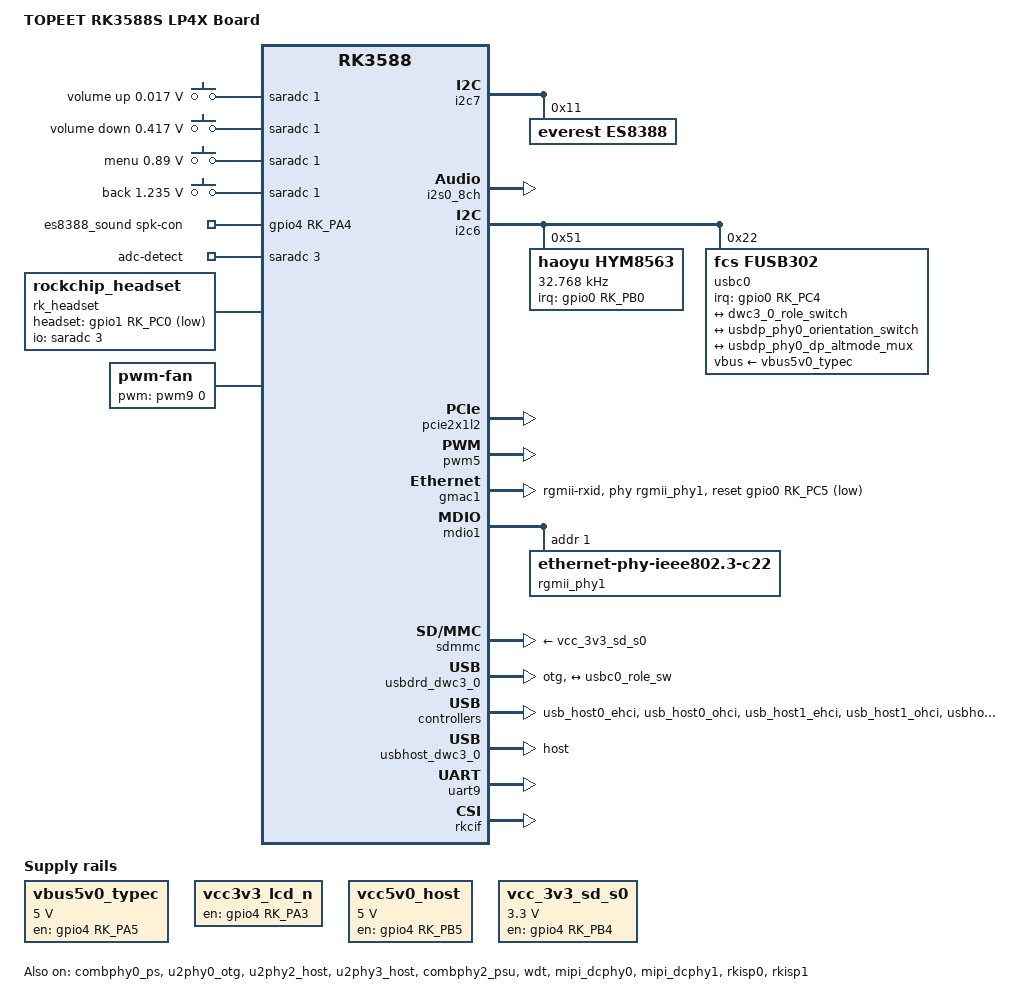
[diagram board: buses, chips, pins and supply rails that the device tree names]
// SPDX-License-Identifier: (GPL-2.0+ OR MIT)
/*
 * Copyright (c) 2022 Rockchip Electronics Co., Ltd.
 *
 */

/dts-v1/;

#include "dt-bindings/usb/pd.h"
#include "rk3588s.dtsi"
#include "topeet-rk3588s-linux.dtsi"
#include "rk3588-rk806-single.dtsi"
#include "rk3588-linux.dtsi"
#include "topeet-screen-lcds.dts"
#include "topeet-camera-config.dtsi"

/ {
	model = "TOPEET RK3588S LP4X Board";
	compatible = "rockchip,rk3588";
	
	//usb-c供电使能
	vbus5v0_typec: vbus5v0-typec {
		compatible = "regulator-fixed";
		regulator-name = "vbus5v0_typec";
		regulator-min-microvolt = <5000000>;
		regulator-max-microvolt = <5000000>;
		enable-active-high;
		gpio = <&gpio4 RK_PA5 GPIO_ACTIVE_HIGH>;
		pinctrl-names = "default";
		pinctrl-0 = <&typec5v_pwren>;
	};

	//LCD屏幕供电使能
	vcc3v3_lcd_n: vcc3v3-lcd0-n {
		compatible = "regulator-fixed";
		regulator-name = "vcc3v3_lcd0_n";
		regulator-boot-on;
		enable-active-high;
		gpio = <&gpio4 RK_PA3 GPIO_ACTIVE_HIGH>;
	};

	//USB2.0和USB3.0供电使能
	vcc5v0_host: vcc5v0-host {
		compatible = "regulator-fixed";
		regulator-name = "vcc5v0_host";
		regulator-boot-on;
		regulator-always-on;
		regulator-min-microvolt = <5000000>;
		regulator-max-microvolt = <5000000>;
		enable-active-high;
		gpio = <&gpio4 RK_PB5 GPIO_ACTIVE_HIGH>;
	};

	//TF卡供电使能
	vcc_3v3_sd_s0: vcc-3v3-sd-s0 {
		compatible = "regulator-fixed";
		regulator-name = "vcc_3v3_sd_s0";
		regulator-min-microvolt = <3300000>;
		regulator-max-microvolt = <3300000>;
		gpio = <&gpio4 RK_PB4 GPIO_ACTIVE_HIGH>;
		enable-active-high;
	};

	// ADC按键
	adc_keys: adc-keys {
			compatible = "adc-keys";
			io-channels = <&saradc 1>;
			io-channel-names = "buttons";
			keyup-threshold-microvolt = <1800000>;
			poll-interval = <100>;

			vol-up-key {
					label = "volume up";
					linux,code = <KEY_VOLUMEUP>;
					press-threshold-microvolt = <17000>;
			};

			vol-down-key {
					label = "volume down";
					linux,code = <KEY_VOLUMEDOWN>;
					press-threshold-microvolt = <417000>;
			};

			menu-key {
					label = "menu";
					linux,code = <KEY_MENU>;
					press-threshold-microvolt = <890000>;
			};

			back-key {
					label = "back";
					linux,code = <KEY_BACK>;
					press-threshold-microvolt = <1235000>;
			};
	};
	
	// 板载声卡
	es8388_sound: es8388-sound {
		status = "okay";
		compatible = "rockchip,multicodecs-card";
		rockchip,card-name = "rockchip-es8388";
		//hp-det-gpio = <&gpio1 RK_PC0 GPIO_ACTIVE_LOW>;
		io-channels = <&saradc 3>;
		io-channel-names = "adc-detect";
		keyup-threshold-microvolt = <1800000>;
		poll-interval = <100>;
		spk-con-gpio = <&gpio4 RK_PA4 GPIO_ACTIVE_HIGH>;
		rockchip,format = "i2s";
		rockchip,mclk-fs = <256>;
		rockchip,cpu = <&i2s0_8ch>;
		rockchip,codec = <&es8388>;
		rockchip,audio-routing =
			"Headphone", "LOUT1",
			"Headphone", "ROUT1",
			"Speaker", "LOUT2",
			"Speaker", "ROUT2",
			"Headphone", "Headphone Power",
			"Headphone", "Headphone Power",
			"Speaker", "Speaker Power",
			"Speaker", "Speaker Power",
			"LINPUT1", "Main Mic",
			"LINPUT2", "Main Mic",
			"RINPUT1", "Headset Mic",
			"RINPUT2", "Headset Mic";
		pinctrl-names = "default";
		play-pause-key {
			label = "playpause";
			linux,code = <KEY_PLAYPAUSE>;
			press-threshold-microvolt = <2000>;
		};
	};

        //耳机插入检测
        rk_headset: rk-headset {
                status = "okay";
                compatible = "rockchip_headset";
                headset_gpio = <&gpio1 RK_PC0 GPIO_ACTIVE_LOW>;
                pinctrl-names = "default";
                pinctrl-0 = <&hp_det>;
                io-channels = <&saradc 3>;
        };
	
	//风扇
	fan: pwm-fan {
		compatible = "pwm-fan";
		#cooling-cells = <2>;
		pwms = <&pwm9 0 50000 0>;
	};
};


&i2c7 {
	status = "okay";
	pinctrl-0 = <&i2c7m0_xfer>;
    //es8388声卡
        es8388: es8388@11 {
                status = "okay";
                #sound-dai-cells = <0>;
                compatible = "everest,es8388", "everest,es8323";
                reg = <0x11>;
                clocks = <&mclkout_i2s0>;
                clock-names = "mclk";
                assigned-clocks = <&mclkout_i2s0>;
                assigned-clock-rates = <12288000>;
                pinctrl-names = "default";
                pinctrl-0 = <&i2s0_mclk>;
        };	

};

// 使能板载声卡的i2S
&i2s0_8ch {
	status = "okay";
};

&i2c6 {
	status = "okay";
	pinctrl-names = "default";
	pinctrl-0 = <&i2c6m3_xfer>;

	// RTC时钟模块
	hym8563: hym8563@51 {
		compatible = "haoyu,hym8563";
		reg = <0x51>;
		#clock-cells = <0>;
		clock-frequency = <32768>;
		clock-output-names = "hym8563";
		pinctrl-names = "default";
		pinctrl-0 = <&hym8563_int>;
		interrupt-parent = <&gpio0>;
		interrupts = <RK_PB0 IRQ_TYPE_LEVEL_LOW>;
		wakeup-source;
		status = "okay";
	};
	
	// USB Type-C 控制器
	usbc0: fusb302@22 {
		compatible = "fcs,fusb302";
		reg = <0x22>;
		interrupt-parent = <&gpio0>;
		interrupts = <RK_PC4 IRQ_TYPE_LEVEL_LOW>;
		pinctrl-names = "default";
		pinctrl-0 = <&usbc0_int>;
		vbus-supply = <&vbus5v0_typec>;
		status = "okay";

		ports {
			#address-cells = <1>;
			#size-cells = <0>;

			port@0 {
				reg = <0>;
				usbc0_role_sw: endpoint@0 {
					remote-endpoint = <&dwc3_0_role_switch>;
				};
			};
		};

		usb_con: connector {
			compatible = "usb-c-connector";
			label = "USB-C";
			data-role = "dual";
			power-role = "dual";
			try-power-role = "sink";
			op-sink-microwatt = <1000000>;
			sink-pdos = <PDO_FIXED(5000, 1000, PDO_FIXED_USB_COMM)>;
			source-pdos = <PDO_FIXED(5000, 3000, PDO_FIXED_USB_COMM)>;

			altmodes{
				#address-cells = <1>;
				#size-cells = <0>;

				altmode@0 {
					reg = <0>;
					svid = <0xff01>;
					vdo = <0xffffffff>;
				};
			};

			ports {
				#address-cells = <1>;
				#size-cells = <0>;

				port@0 {
					reg = <0>;

					usbc0_orien_sw: endpoint {
						remote-endpoint = <&usbdp_phy0_orientation_switch>;
					};
				};

				port@1 {
					reg = <1>;

					dp_altmode_mux: endpoint {
						remote-endpoint = <&usbdp_phy0_dp_altmode_mux>;
					};
				};
			};
		};
	};
};

// PCIE 2.0使能 固态硬盘
&combphy0_ps {
	status = "okay";
};

&pcie2x1l2 {
	//reset-gpios = <&gpio4 RK_PC1 GPIO_ACTIVE_HIGH>;
	//rockchip,skip-scan-in-resume;
	status = "okay";
};

//蜂鸣器
&pwm5 {
	pinctrl-0 = <&pwm5m1_pins>;
	status = "okay";
};

//有线网卡配置
&gmac1 {
	/* Use rgmii-rxid mode to disable rx delay inside Soc */
	phy-mode = "rgmii-rxid";
	clock_in_out = "output";

	snps,reset-gpio = <&gpio0 RK_PC5 GPIO_ACTIVE_LOW>;
	snps,reset-active-low;
	/* Reset time is 20ms, 100ms for rtl8211f */
	snps,reset-delays-us = <0 20000 100000>;

	pinctrl-names = "default";
	pinctrl-0 = <&gmac1_miim
		&gmac1_tx_bus2
		&gmac1_rx_bus2
		&gmac1_rgmii_clk
		&gmac1_rgmii_bus
		//&eth1_pins
		&gmac1_clkinout>;

	tx_delay = <0x44>;
	/* rx_delay = <0x3f>; */

	phy-handle = <&rgmii_phy1>;
	status = "okay";
};

&mdio1 {
	rgmii_phy1: phy@1 {
		compatible = "ethernet-phy-ieee802.3-c22";
		reg = <0x1>;
	};
};
/* end of gmac */

// TF卡使能
&sdmmc {
	status = "okay";
	vmmc-supply = <&vcc_3v3_sd_s0>;
};

/* type-C 配置*/
&u2phy0_otg {
	status = "okay";
	rockchip,typec-vbus-det;
};

&usbdp_phy0 {
	orientation-switch;
	svid = <0xff01>;
	sbu1-dc-gpios = <&gpio4 RK_PA0 GPIO_ACTIVE_HIGH>;
	sbu2-dc-gpios = <&gpio4 RK_PA1 GPIO_ACTIVE_HIGH>;

	port {
		#address-cells = <1>;
		#size-cells = <0>;

		usbdp_phy0_orientation_switch: endpoint@0 {
			reg = <0>;
			remote-endpoint = <&usbc0_orien_sw>;
		};

		usbdp_phy0_dp_altmode_mux: endpoint@1 {
			reg = <1>;
			remote-endpoint = <&dp_altmode_mux>;
		};
	};
};

&usbdrd_dwc3_0 {
	dr_mode = "otg";
	usb-role-switch;

	port {
		#address-cells = <1>;
		#size-cells = <0>;

		dwc3_0_role_switch: endpoint@0 {
			reg = <0>;
			remote-endpoint = <&usbc0_role_sw>;
		};
	};
};
/* end of type-C */

// USB 2.0 HOST 配置
&u2phy2_host {
	status = "okay";
	phy-supply = <&vcc5v0_host>;
};

&u2phy3_host {
	status = "okay";
	phy-supply = <&vcc5v0_host>;
};

&usb_host0_ehci {
	status = "okay";
};

&usb_host0_ohci {
	status = "okay";
};

&usb_host1_ehci {
	status = "okay";
};

&usb_host1_ohci {
	status = "okay";
};
/* end of usb 2.0 */

&usbdrd_dwc3_0 {
	usb-role-switch;
	port {
		#address-cells = <1>;
		#size-cells = <0>;
		dwc3_0_role_switch: endpoint@0 {
			reg = <0>;
			remote-endpoint = <&usbc0_role_sw>;
		};
	};
};

// USB 3.0 配置
&combphy2_psu {
	status = "okay";
};

&usbhost3_0 {
	status = "okay";
};

&usbhost_dwc3_0 {
	status = "okay";
	dr_mode = "host";
};
/* end of USB 3.0 */


// RS485 对应的串口使能
&uart9 {
	status = "okay";
	pinctrl-0 = <&uart9m2_xfer>;
};

// 使能硬件看门狗
&wdt {
	status = "okay";
};

// CAN接口相关配置
&can1 {
        compatible = "rockchip,can-2.0";
        status = "disabled";
        assigned-clocks = <&cru CLK_CAN1>;
        assigned-clock-rates = <150000000>;  //If can bitrate lower than 3M,the clock-rates should set 100M,else set 200M.
        pinctrl-names = "default";
        pinctrl-0 = <&can1m1_pins>;
};


// 摄像头相关配置
&mipi_dcphy0 {
        status = "okay";
};

&mipi_dcphy1 {
        status = "okay";
};

&rkcif {
        status = "okay";
};

&rkcif_mmu {
        status = "okay";
};

&rkisp0 {
        status = "okay";
};

&isp0_mmu {
        status = "okay";
};

&rkisp1 {
        status = "okay";
};

&isp1_mmu {
        status = "okay";
};
/* end camera */

&pinctrl {
        headphone {
                hp_det: hp-det {
                        rockchip,pins = <1 RK_PC0 RK_FUNC_GPIO &pcfg_pull_none>;
                };
        };

        hym8563 {
                hym8563_int: hym8563-int {
                        rockchip,pins = <0 RK_PB0 RK_FUNC_GPIO &pcfg_pull_up>;
                };
        };

        usb-typec {
                usbc0_int: usbc0-int {
                        rockchip,pins = <0 RK_PC4 RK_FUNC_GPIO &pcfg_pull_up>;
                };

                typec5v_pwren: typec5v-pwren {
                        rockchip,pins = <1 RK_PA1 RK_FUNC_GPIO &pcfg_pull_none>;
                };
        };
	
	lcd0 {
                lcd0_rst_gpio:lcd0-rst-gpio {
                        rockchip,pins = <3 RK_PC6 RK_FUNC_GPIO &pcfg_pull_none>;
                };
        };

};
